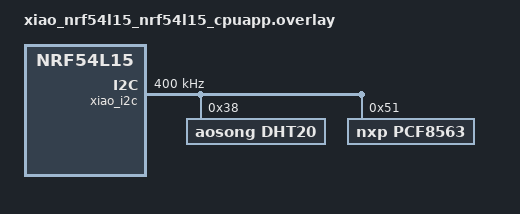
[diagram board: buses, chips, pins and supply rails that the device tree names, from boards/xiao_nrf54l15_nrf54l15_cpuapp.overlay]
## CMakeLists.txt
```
cmake_minimum_required(VERSION 3.20.0)
find_package(Zephyr REQUIRED HINTS $ENV{ZEPHYR_BASE})

project(THLogger)

target_sources(app PRIVATE
	src/main.c
	src/imu.c
	src/pcf8563.c
	src/dht20.c
	src/ble_service.c
)
```

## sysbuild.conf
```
# Disable the deprecated NCS Partition Manager.
# NVS partition layout is defined entirely in the DTS overlay
# (boards/xiao_nrf54l15_nrf54l15_cpuapp.overlay, &storage_partition).
SB_CONFIG_PARTITION_MANAGER=n
```

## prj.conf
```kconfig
CONFIG_LOG=y
CONFIG_LOG_DEFAULT_LEVEL=3
CONFIG_SERIAL=y
CONFIG_UART_CONSOLE=y

CONFIG_I2C=y
CONFIG_SENSOR=y
CONFIG_DHT20=y

# PCF8563 RTC on XIAO Expansion Board (battery-backed, survives power loss)
# RTC_PCF8563 is auto-enabled via DT_HAS_NXP_PCF8563_ENABLED when the DTS
# node is present; only the RTC subsystem needs to be explicitly selected.
CONFIG_RTC=y

# NVS persistent storage
CONFIG_NVS=y
CONFIG_FLASH=y
CONFIG_FLASH_MAP=y
CONFIG_FLASH_PAGE_LAYOUT=y

# Shell interface (show/clear log, set time)
CONFIG_SHELL=y
CONFIG_SHELL_BACKEND_SERIAL=y
CONFIG_SHELL_LOG_BACKEND=y
CONFIG_SHELL_STACK_SIZE=2048

# LED blink on sample / BLE connected indicator
CONFIG_GPIO=y

# ── BLE Nordic UART Service (NUS) ─────────────────────────────────────────
CONFIG_BT=y
CONFIG_BT_PERIPHERAL=y
CONFIG_BT_DEVICE_NAME="IcicleTHLogger"
CONFIG_BT_DEVICE_APPEARANCE=0

# Allow bt_set_name() to change the device name at runtime (required for NVS
# name persistence and the "thble name" shell command).  Without this,
# bt_set_name() returns -ENOMEM (-12) and BLE init fails entirely.
CONFIG_BT_DEVICE_NAME_DYNAMIC=y
CONFIG_BT_DEVICE_NAME_MAX=29

# Nordic UART Service (command/response over BLE)
CONFIG_BT_NUS=y

# Data Length Extension: up to 251-byte LL payload → 244-byte ATT payload
CONFIG_BT_CTLR_DATA_LENGTH_MAX=251
CONFIG_BT_L2CAP_TX_MTU=247
CONFIG_BT_BUF_ACL_RX_SIZE=255
CONFIG_BT_BUF_ACL_TX_SIZE=255

# BLE callbacks run on the system workqueue — needs more stack
CONFIG_SYSTEM_WORKQUEUE_STACK_SIZE=4096

# Suppress noisy BT debug traces
CONFIG_BT_HCI_CORE_LOG_LEVEL_WRN=y
CONFIG_BT_HCI_DRIVER_LOG_LEVEL_WRN=y
CONFIG_BT_LOG_LEVEL_WRN=y
```

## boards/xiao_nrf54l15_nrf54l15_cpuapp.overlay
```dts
/*
 * DHT20 temperature and humidity sensor + LSM6DSO IMU on the XIAO I2C bus.
 * DHT20 fixed address: 0x38
 * LSM6DSO fixed address: 0x6A  (accessed via raw I2C — no Zephyr sensor driver)
 * PCF8563 RTC on the XIAO Expansion Board: 0x51
 */

&xiao_i2c {
	clock-frequency = <400000>; /* 400 kHz fast mode */
	status = "okay";

	dht20: dht20@38 {
		compatible = "aosong,dht20";
		reg = <0x38>;
	};

	pcf8563: pcf8563@51 {
		compatible = "nxp,pcf8563";
		reg = <0x51>;
		status = "okay";
	};
};

/*
 * Replace the board-default partition table (MCUBoot + two OTA slots).
 * This project does not use MCUBoot or OTA, so the two 664 KB OTA slots
 * and the 64 KB MCUBoot slot are freed.
 *
 * cpuapp_rram total: 1428 KB  (0x000000 – 0x165000)
 *   0x000000 – 0x0E5000  slot0  (app code)   916 KB
 *   0x0E5000 – 0x165000  storage (NVS)        512 KB  (128 × 4 KB pages)
 *
 * slot0_partition is kept so the existing chosen { zephyr,code-partition }
 * reference continues to resolve; it now starts at 0x0 (no MCUBoot jump).
 */
&cpuapp_rram {
	/delete-node/ partitions;

	partitions {
		compatible = "fixed-partitions";
		#address-cells = <1>;
		#size-cells = <1>;

		slot0_partition: partition@0 {
			label = "image-0";
			reg = <0x0 DT_SIZE_K(916)>;
		};

		storage_partition: partition@e5000 {
			label = "storage";
			reg = <0xe5000 DT_SIZE_K(512)>;
		};
	};
};
```

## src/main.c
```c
/*
 * THLogger — Temperature & Humidity Logger with persistent NVS storage.
 *
 * Serial shell commands (115200 baud on USB/UART):
 *   thlog show          — print all stored log entries
 *   thlog clear         — erase the log
 *   thlog measure       — trigger an immediate measurement
 *   thtime set <YYYY-MM-DD> <HH:MM:SS>  — set the UTC time reference
 *   thtime get          — print the current derived time
 *   thble name          — print current BLE device name
 *   thble name <name>   — set BLE device name (persisted in NVS, max 29 chars)
 *
 * Storage layout (storage_partition, 512 KB at 0x0E5000 — see DTS overlay):
 *   NVS key  1 : write_idx   (uint32_t) — monotonic entry counter
 *   NVS key  2 : base_time_s (int64_t)  — unix seconds set by user
 *   NVS key  3 : BLE device name string (max 29 chars)
 *   NVS key 10…(10+MAX-1) : th_log_entry structs in a circular ring
 */

#include <zephyr/kernel.h>
#include <zephyr/logging/log.h>
#include <zephyr/device.h>
#include <zephyr/drivers/gpio.h>
#include <zephyr/fs/nvs.h>
#include <zephyr/drivers/flash.h>
#include <zephyr/storage/flash_map.h>
#include <zephyr/devicetree.h>
#include <zephyr/shell/shell.h>
#include <zephyr/sys/timeutil.h>
#include <time.h>
#include <stdio.h>
#include <string.h>
#include "imu.h"
#include "pcf8563.h"
#include "dht20.h"
#include "thlog_data.h"
#include "ble_service.h"

LOG_MODULE_REGISTER(main, CONFIG_LOG_DEFAULT_LEVEL);

/* Built-in LED (led0 alias, active-low on XIAO nRF54L15) */
#define LED0_NODE DT_ALIAS(led0)
static const struct gpio_dt_spec led = GPIO_DT_SPEC_GET(LED0_NODE, gpios);

/*
 * NVS partition: 512 KB (128 × 4 KB RRAM pages), defined in the DTS overlay.
 * Usable space: 127 sectors × 4096 B = 520,192 B.
 * Per entry: 32 B data + 8 B NVS ATE = 40 B  →  max ≈ 13,000 entries.
 * 10,000 entries × 40 B = 400,000 B — well within budget.
 * At one entry per 5 minutes: ~34.7 days of continuous logging.
 *
 * Key layout, struct, and externs are in thlog_data.h.
 */

struct nvs_fs nvs;
bool nvs_ready;

/* ------------------------------------------------------------------ */
/* Software clock                                                       */
/*   base_time_s   : unix seconds at the moment set by the user       */
/*   base_uptime_ms: k_uptime_get() value when base_time_s was set    */
/* Both survive reboots via NVS key 2.  After a cold boot the stored  */
/* base is reused so new entries carry sensible timestamps straight    */
/* away; the user can refine at any time with "thtime set".           */
/* ------------------------------------------------------------------ */
static int64_t base_time_s;
static int64_t base_uptime_ms;

int64_t get_timestamp_s(void)
{
	return base_time_s + (k_uptime_get() - base_uptime_ms) / 1000;
}

/* ------------------------------------------------------------------ */
/* Monotonic write counter (persisted in NVS)                          */
/* ------------------------------------------------------------------ */
uint32_t write_idx;

/* Set true once IMU init succeeds in main(); used by the measure command */
static bool imu_available;

/* ------------------------------------------------------------------ */
/* Helpers                                                             */
/* ------------------------------------------------------------------ */

/*
 * Format a unix timestamp as "YYYY-MM-DD HH:MM:SS".
 * Self-contained Gregorian algorithm — no gmtime() dependency.
 */
void format_timestamp(int64_t ts, char *buf, size_t len)
{
	static const uint8_t mdays[12] = {31, 28, 31, 30, 31, 30,
					  31, 31, 30, 31, 30, 31};

	if (ts <= 0) {
		snprintf(buf, len, "(time not set)");
		return;
	}

	int64_t days = ts / 86400;
	int64_t rem  = ts % 86400;
	int hh = (int)(rem / 3600);
	int mm = (int)((rem % 3600) / 60);
	int ss = (int)(rem % 60);

	int year = 1970;

	while (1) {
		bool leap = ((year % 4 == 0) && (year % 100 != 0)) ||
			    (year % 400 == 0);
		int diy = leap ? 366 : 365;

		if (days < diy) {
			break;
		}
		days -= diy;
		year++;
	}

	year = (year > 9999) ? 9999 : year;

	bool leap = ((year % 4 == 0) && (year % 100 != 0)) ||
		    (year % 400 == 0);
	int month = 1;

	for (int m = 0; m < 12; m++) {
		int md = mdays[m] + (m == 1 && leap ? 1 : 0);

		if (days < md) {
			month = m + 1;
			break;
		}
		days -= md;
	}

	int day = (int)days + 1;

	snprintf(buf, len, "%04d-%02d-%02d %02d:%02d:%02d",
		 year, month, day, hh, mm, ss);
}

/* Parse "YYYY-MM-DD". Returns 0 on success. */
static int parse_date_str(const char *s, int *year, int *month, int *day)
{
	if (strlen(s) != 10 || s[4] != '-' || s[7] != '-') {
		return -EINVAL;
	}
	for (int i = 0; i < 10; i++) {
		if (i == 4 || i == 7) {
			continue;
		}
		if (s[i] < '0' || s[i] > '9') {
			return -EINVAL;
		}
	}
	*year  = (s[0]-'0')*1000 + (s[1]-'0')*100 + (s[2]-'0')*10 + (s[3]-'0');
	*month = (s[5]-'0')*10 + (s[6]-'0');
	*day   = (s[8]-'0')*10 + (s[9]-'0');
	return 0;
}

/* Parse "HH:MM:SS". Returns 0 on success. */
static int parse_time_str(const char *s, int *hh, int *mm, int *ss)
{
	if (strlen(s) != 8 || s[2] != ':' || s[5] != ':') {
		return -EINVAL;
	}
	for (int i = 0; i < 8; i++) {
		if (i == 2 || i == 5) {
			continue;
		}
		if (s[i] < '0' || s[i] > '9') {
			return -EINVAL;
		}
	}
	*hh = (s[0]-'0')*10 + (s[1]-'0');
	*mm = (s[3]-'0')*10 + (s[4]-'0');
	*ss = (s[6]-'0')*10 + (s[7]-'0');
	return 0;
}

/* ------------------------------------------------------------------ */
/* NVS helpers                                                          */
/* ------------------------------------------------------------------ */

static int nvs_init_storage(void)
{
	/*
	 * storage_partition is defined (and its 512 KB size locked) in the
	 * DTS overlay.  FIXED_PARTITION_* macros read directly from the DTS
	 * so no hardcoded addresses are needed here.
	 */
	struct flash_pages_info page_info;
	int rc;

	nvs.flash_device = FIXED_PARTITION_DEVICE(storage_partition);
	if (!device_is_ready(nvs.flash_device)) {
		LOG_ERR("NVS flash device not ready");
		return -ENODEV;
	}

	nvs.offset = FIXED_PARTITION_OFFSET(storage_partition);

	rc = flash_get_page_info_by_offs(nvs.flash_device, nvs.offset,
					 &page_info);
	if (rc < 0) {
		LOG_ERR("Failed to get flash page info: %d", rc);
		return rc;
	}

	nvs.sector_size  = (uint16_t)page_info.size;
	nvs.sector_count = (uint16_t)(FIXED_PARTITION_SIZE(storage_partition)
				  / page_info.size);

	rc = nvs_mount(&nvs);
	if (rc < 0) {
		LOG_ERR("NVS mount failed: %d", rc);
		return rc;
	}

	LOG_INF("NVS mounted: offset=0x%lx sector_size=%u sectors=%u",
		(unsigned long)nvs.offset, nvs.sector_size, nvs.sector_count);
	return 0;
}

static int log_store_entry(const struct th_log_entry *entry)
{
	if (!nvs_ready) {
		return -ENODEV;
	}

	uint16_t slot = (uint16_t)(write_idx % MAX_LOG_ENTRIES);
	int rc;

	rc = nvs_write(&nvs, NVS_KEY_ENTRY_BASE + slot,
		       entry, sizeof(*entry));
	if (rc < 0) {
		LOG_ERR("NVS write entry failed: %d", rc);
		return rc;
	}

	write_idx++;
	rc = nvs_write(&nvs, NVS_KEY_WRITE_IDX, &write_idx, sizeof(write_idx));
	if (rc < 0) {
		LOG_ERR("NVS write_idx update failed: %d", rc);
	}
	return rc;
}

/* ------------------------------------------------------------------ */
/* Shell: thlog show / thlog clear                                     */
/* ------------------------------------------------------------------ */

static int cmd_thlog_show(const struct shell *sh, size_t argc, char **argv)
{
	ARG_UNUSED(argc);
	ARG_UNUSED(argv);

	if (!nvs_ready) {
		shell_error(sh, "NVS not available.");
		return -ENODEV;
	}

	uint32_t count = (write_idx < MAX_LOG_ENTRIES) ? write_idx
						       : MAX_LOG_ENTRIES;

	if (count == 0) {
		shell_print(sh, "Log is empty.");
		return 0;
	}

	/*
	 * When the ring buffer is full, write_idx % MAX points at the
	 * oldest slot (the next one to be overwritten).
	 */
	uint32_t oldest_slot = (write_idx >= MAX_LOG_ENTRIES)
				? (write_idx % MAX_LOG_ENTRIES) : 0u;

	shell_print(sh, "%-21s  %-10s  %-14s  %-12s  %s",
		    "Timestamp (UTC)", "Temp (C)", "Humidity (%)",
		    "VibRMS (mg)", "VibPeak (mg)");
	shell_print(sh,
		    "------------------------------------------------------------------------");

	for (uint32_t i = 0; i < count; i++) {
		uint16_t slot = (uint16_t)((oldest_slot + i) % MAX_LOG_ENTRIES);
		struct th_log_entry e;
		char timebuf[32];
		int rc;

		rc = nvs_read(&nvs, NVS_KEY_ENTRY_BASE + slot,
			      &e, sizeof(e));
		if (rc < 0) {
			shell_print(sh, "[slot %u] read error: %d", slot, rc);
			continue;
		}

		format_timestamp(e.timestamp_s, timebuf, sizeof(timebuf));
		shell_print(sh, "%-21s  %4d.%02d       %3d.%02d         %6d        %6d",
			    timebuf,
			    e.temp_val1, e.temp_val2 / 10000,
			    e.hum_val1,  e.hum_val2  / 10000,
			    e.vibration_rms_mg, e.vibration_peak_mg);
	}

	shell_print(sh,
		    "------------------------------------------------------------------------");
	shell_print(sh, "%u entr%s (max %u).",
		    count, count == 1u ? "y" : "ies", MAX_LOG_ENTRIES);
	return 0;
}

static int cmd_thlog_measure(const struct shell *sh, size_t argc, char **argv)
{
	ARG_UNUSED(argc);
	ARG_UNUSED(argv);

	if (!nvs_ready) {
		shell_error(sh, "NVS not available.");
		return -ENODEV;
	}

	int32_t vib_rms_mg = 0, vib_peak_mg = 0;

	if (imu_available) {
		if (imu_sample_vibration(&vib_rms_mg, &vib_peak_mg) != 0) {
			shell_warn(sh, "IMU: vibration sampling failed");
		}
	}

	struct sensor_value temp, humidity;

	if (dht20_measure(&temp, &humidity) != 0) {
		shell_error(sh, "DHT20 measurement failed.");
		return -EIO;
	}

	struct th_log_entry entry = {
		.timestamp_s       = get_timestamp_s(),
		.temp_val1         = temp.val1,
		.temp_val2         = temp.val2,
		.hum_val1          = humidity.val1,
		.hum_val2          = humidity.val2,
		.vibration_rms_mg  = vib_rms_mg,
		.vibration_peak_mg = vib_peak_mg,
	};

	int rc = log_store_entry(&entry);

	if (rc < 0) {
		shell_error(sh, "Failed to store entry: %d", rc);
		return rc;
	}

	char timebuf[32];

	format_timestamp(entry.timestamp_s, timebuf, sizeof(timebuf));
	shell_print(sh, "Measured: %s  %d.%02d C  %d.%02d %%  vib RMS=%d mg  peak=%d mg",
		    timebuf,
		    entry.temp_val1, entry.temp_val2 / 10000,
		    entry.hum_val1,  entry.hum_val2  / 10000,
		    vib_rms_mg, vib_peak_mg);
	return 0;
}

static int cmd_thlog_clear(const struct shell *sh, size_t argc, char **argv)
{
	ARG_UNUSED(argc);
	ARG_UNUSED(argv);

	if (!nvs_ready) {
		shell_error(sh, "NVS not available.");
		return -ENODEV;
	}

	write_idx = 0;
	int rc = nvs_write(&nvs, NVS_KEY_WRITE_IDX,
			   &write_idx, sizeof(write_idx));
	if (rc < 0) {
		shell_error(sh, "Failed to clear log: %d", rc);
		return rc;
	}
	shell_print(sh, "Log cleared.");
	return 0;
}

/* ------------------------------------------------------------------ */
/* Shell: thtime set / thtime get                                       */
/* ------------------------------------------------------------------ */

static int cmd_thtime_set(const struct shell *sh, size_t argc, char **argv)
{
	/* argv: [0]="set"  [1]="YYYY-MM-DD"  [2]="HH:MM:SS" */
	if (argc < 3) {
		shell_error(sh, "Usage: thtime set <YYYY-MM-DD> <HH:MM:SS>");
		return -EINVAL;
	}

	int year, month, day, hh, mm, ss;

	if (parse_date_str(argv[1], &year, &month, &day) != 0) {
		shell_error(sh, "Bad date — expected YYYY-MM-DD");
		return -EINVAL;
	}
	if (parse_time_str(argv[2], &hh, &mm, &ss) != 0) {
		shell_error(sh, "Bad time — expected HH:MM:SS");
		return -EINVAL;
	}
	if (month < 1 || month > 12 || day < 1 || day > 31 ||
	    hh > 23 || mm > 59 || ss > 59) {
		shell_error(sh, "Value out of range");
		return -EINVAL;
	}

	struct tm t = {
		.tm_year = year - 1900,
		.tm_mon  = month - 1,
		.tm_mday = day,
		.tm_hour = hh,
		.tm_min  = mm,
		.tm_sec  = ss,
	};

	base_time_s    = timeutil_timegm64(&t);
	base_uptime_ms = k_uptime_get();

	/* Persist so timestamps survive a reboot (RTC is authoritative on boot) */
	if (nvs_ready) {
		nvs_write(&nvs, NVS_KEY_BASE_TIME, &base_time_s, sizeof(base_time_s));
	}

	/* Write to the PCF8563 — it will keep ticking on battery power */
	if (pcf8563_write_unix(base_time_s) == 0) {
		shell_print(sh, "PCF8563 RTC updated.");
	}

	char buf[32];

	format_timestamp(base_time_s, buf, sizeof(buf));
	shell_print(sh, "Time set to: %s UTC", buf);
	return 0;
}

static int cmd_thtime_get(const struct shell *sh, size_t argc, char **argv)
{
	ARG_UNUSED(argc);
	ARG_UNUSED(argv);

	char buf[32];

	format_timestamp(get_timestamp_s(), buf, sizeof(buf));
	shell_print(sh, "Current time: %s UTC", buf);
	return 0;
}

/* ------------------------------------------------------------------ */
/* Shell registration                                                   */
/* ------------------------------------------------------------------ */

SHELL_STATIC_SUBCMD_SET_CREATE(sub_thlog,
	SHELL_CMD(show,    NULL, "Print all log entries",       cmd_thlog_show),
	SHELL_CMD(clear,   NULL, "Erase the log",               cmd_thlog_clear),
	SHELL_CMD(measure, NULL, "Trigger an immediate sample", cmd_thlog_measure),
	SHELL_SUBCMD_SET_END
);

SHELL_STATIC_SUBCMD_SET_CREATE(sub_thtime,
	SHELL_CMD_ARG(set, NULL,
		      "Set UTC time: <YYYY-MM-DD> <HH:MM:SS>",
		      cmd_thtime_set, 3, 0),
	SHELL_CMD(get, NULL, "Print current time", cmd_thtime_get),
	SHELL_SUBCMD_SET_END
);

SHELL_CMD_REGISTER(thlog,  &sub_thlog,  "THLogger log commands",  NULL);
SHELL_CMD_REGISTER(thtime, &sub_thtime, "THLogger time commands", NULL);

/* ------------------------------------------------------------------ */
/* Shell: thble name                                                    */
/* ------------------------------------------------------------------ */

static int cmd_thble_name(const struct shell *sh, size_t argc, char **argv)
{
	if (argc < 2) {
		shell_print(sh, "BLE name: %s", ble_service_get_name());
		return 0;
	}

	int rc = ble_service_set_name(argv[1]);

	if (rc == 0) {
		shell_print(sh, "BLE name set to: %s", ble_service_get_name());
	} else {
		shell_error(sh, "Failed to set BLE name: %d", rc);
	}
	return rc;
}

SHELL_STATIC_SUBCMD_SET_CREATE(sub_thble,
	SHELL_CMD_ARG(name, NULL,
		      "Get/set BLE device name: thble name [<newname>]",
		      cmd_thble_name, 1, 1),
	SHELL_SUBCMD_SET_END
);

SHELL_CMD_REGISTER(thble, &sub_thble, "THLogger BLE commands", NULL);

/* ------------------------------------------------------------------ */
/* main                                                                 */
/* ------------------------------------------------------------------ */

int main(void)
{
	LOG_INF("THLogger starting");

	/*
	 * DHT20 requires >=100 ms after VDD power-on before I2C is ready.
	 * The driver SYS_INIT runs before main(), so guard here.
	 */
	k_sleep(K_MSEC(200));

	/* --- NVS ----------------------------------------------------- */
	if ((nvs_ready = (nvs_init_storage() == 0))) {
		/* Restore the monotonic write counter */
		if (nvs_read(&nvs, NVS_KEY_WRITE_IDX,
			     &write_idx, sizeof(write_idx)) < 0) {
			write_idx = 0;
		}

		/* Restore the last known real-world time reference */
		int64_t stored_time = 0;

		if (nvs_read(&nvs, NVS_KEY_BASE_TIME,
			     &stored_time, sizeof(stored_time)) > 0 &&
		    stored_time > 0) {
			base_time_s    = stored_time;
			base_uptime_ms = k_uptime_get();
			LOG_INF("Restored time base from NVS");
		}

		uint32_t count = (write_idx < MAX_LOG_ENTRIES)
				 ? write_idx : MAX_LOG_ENTRIES;

		LOG_INF("Log: %u entr%s stored (max %u)",
			count, count == 1u ? "y" : "ies", MAX_LOG_ENTRIES);
	} else {
		LOG_WRN("NVS unavailable — logging disabled");
	}

	/* --- PCF8563 RTC ------------------------------------------- */
	if (pcf8563_init() == 0) {
		int64_t rtc_ts = pcf8563_read_unix();

		if (rtc_ts > 0) {
			base_time_s    = rtc_ts;
			base_uptime_ms = k_uptime_get();
			if (nvs_ready) {
				nvs_write(&nvs, NVS_KEY_BASE_TIME,
					  &base_time_s, sizeof(base_time_s));
			}
			LOG_INF("Time loaded from PCF8563 RTC");
		} else {
			LOG_WRN("PCF8563: oscillator not set — "
				"use \"thtime set\" to initialise");
		}
	} else {
		LOG_WRN("PCF8563 RTC not available — check I2C wiring");
	}

	/* --- DHT20 --------------------------------------------------- */
	if (dht20_init() != 0) {
		/* Stay alive so MCUboot does not mark the image failed */
		while (1) {
			k_sleep(K_SECONDS(5));
		}
	}

	/* --- LED ----------------------------------------------------- */
	if (gpio_is_ready_dt(&led)) {
		gpio_pin_configure_dt(&led, GPIO_OUTPUT_INACTIVE);
	} else {
		LOG_WRN("LED GPIO not ready");
	}

	/* --- IMU (LSM6DSO) ------------------------------------------- */
	imu_available = (imu_init() == 0);

	if (!imu_available) {
		LOG_WRN("IMU: init failed — vibration logging disabled");
	}

	/* --- BLE ----------------------------------------------------- */
	if (ble_service_init() != 0) {
		LOG_WRN("BLE: init failed — BLE disabled");
	}

	/* 500 ms blink to signal a successful start */
	gpio_pin_set_dt(&led, 0);
	k_sleep(K_MSEC(500));
	gpio_pin_set_dt(&led, 1);

	/* --- Sampling loop ------------------------------------------- */
	while (1) {
		/*
		 * 1. IMU vibration sampling (~10 seconds).
		 *    Runs first so the accelerometer window aligns with the
		 *    start of every measurement cycle, giving a consistent
		 *    time reference for motor-state analysis.
		 */
		int32_t vib_rms_mg = 0, vib_peak_mg = 0;

		if (imu_available) {
			if (imu_sample_vibration(&vib_rms_mg, &vib_peak_mg) != 0) {
				LOG_WRN("IMU: vibration sampling failed");
			} else {
				LOG_INF("IMU: vib RMS=%d mg  peak=%d mg",
					vib_rms_mg, vib_peak_mg);
			}
		}

		/* 2. DHT20 temperature & humidity */
		struct sensor_value temp, humidity;

		if (dht20_measure(&temp, &humidity) == 0) {
			struct th_log_entry entry = {
				.timestamp_s       = get_timestamp_s(),
				.temp_val1         = temp.val1,
				.temp_val2         = temp.val2,
				.hum_val1          = humidity.val1,
				.hum_val2          = humidity.val2,
				.vibration_rms_mg  = vib_rms_mg,
				.vibration_peak_mg = vib_peak_mg,
			};

			log_store_entry(&entry);

			/* 500 ms blink to signal a successful sample */
			gpio_pin_set_dt(&led, 0);
			k_sleep(K_MSEC(500));
			gpio_pin_set_dt(&led, 1);
		}

		/*
		 * 3. Sleep for the remainder of the 5-minute cycle.
		 *    The IMU window already consumed ~10 seconds, so subtract
		 *    that when the IMU is active to keep a consistent period.
		 */
		int sleep_s = (5 * 60) - (imu_available ? (IMU_SAMPLE_DURATION_MS / 1000) : 0);

		if (sleep_s > 0) {
			k_sleep(K_SECONDS(sleep_s));
		}
	}

	return 0;
}
```

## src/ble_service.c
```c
/*
 * ble_service.c — BLE NUS command/response service for THLogger.
 *
 * Modeled on the ThermalCam project's ble_stream.c.
 * Accepts text commands over NUS RX and streams log data back over NUS TX.
 *
 * SPDX-License-Identifier: Apache-2.0
 */

#include <zephyr/kernel.h>
#include <zephyr/drivers/gpio.h>
#include <zephyr/bluetooth/bluetooth.h>
#include <zephyr/bluetooth/conn.h>
#include <bluetooth/services/nus.h>
#include <zephyr/logging/log.h>

#include <stdio.h>
#include <string.h>
#include <stdlib.h>

#include "ble_service.h"
#include "thlog_data.h"

LOG_MODULE_REGISTER(ble_service, LOG_LEVEL_INF);

/* ---- BLE device name --------------------------------------------------- */
#define BLE_NAME_MAX_LEN  29   /* BLE scan-response payload limit */
static char s_ble_name[BLE_NAME_MAX_LEN + 1]; /* current device name */

/* ---- LED0: BLE connected indicator ---- */
static const struct gpio_dt_spec s_led0 =
	GPIO_DT_SPEC_GET(DT_ALIAS(led0), gpios);

/* ---- Module-level state ---- */
static struct bt_conn *s_conn;          /* NULL when not connected       */
static bool           s_notify_enabled; /* true once peer writes CCCD=1  */
static K_SEM_DEFINE(s_bt_ready, 0, 1);

/* Work item for advertising restart (must run outside BT RX thread) */
static void adv_restart_work_handler(struct k_work *work);
static K_WORK_DEFINE(s_adv_restart_work, adv_restart_work_handler);

/*
 * Command thread: processes NUS RX commands on a dedicated stack so the
 * system workqueue is not blocked during long NVS reads or BLE TX loops.
 * The BLE stack's own work items can then drain the TX buffer freely.
 */
#define CMD_BUF_SIZE        64
#define CMD_THREAD_STACK    4096
#define CMD_THREAD_PRIORITY 7

static char     s_cmd_buf[CMD_BUF_SIZE];
static uint16_t s_cmd_len;

static K_THREAD_STACK_DEFINE(s_cmd_stack, CMD_THREAD_STACK);
static struct k_thread s_cmd_thread_data;
static K_SEM_DEFINE(s_cmd_sem, 0, 1);

static void cmd_thread_fn(void *p1, void *p2, void *p3);

/* ---- Binary show-protocol framing bytes -------------------------------- */
static const uint8_t SHOW_SOF[] = {0xAAu, 0x55u, 0xDDu, 0x22u};
static const uint8_t SHOW_EOF[] = {0x22u, 0xDDu, 0x55u, 0xAAu};

/* ---- Advertising / scan-response data ---------------------------------- */

static const struct bt_data s_adv[] = {
	BT_DATA_BYTES(BT_DATA_FLAGS, (BT_LE_AD_GENERAL | BT_LE_AD_NO_BREDR)),
	BT_DATA_BYTES(BT_DATA_UUID128_ALL, BT_UUID_NUS_VAL),
};

/* Scan response is built dynamically so it uses the NVS-loaded name */
static struct bt_data s_sd[1];

static void build_scan_response(void)
{
	s_sd[0].type = BT_DATA_NAME_COMPLETE;
	s_sd[0].data = (const uint8_t *)s_ble_name;
	s_sd[0].data_len = (uint8_t)strlen(s_ble_name);
}

/* ---- Send raw bytes over NUS TX in MTU-sized chunks -------------------- */

static int nus_send_raw(const uint8_t *data, size_t len)
{
	if (!s_conn || !s_notify_enabled) {
		return -ENOTCONN;
	}

	uint32_t mtu = bt_nus_get_mtu(s_conn);

	if (mtu == 0) {
		mtu = 20;
	}

	for (size_t offset = 0; offset < len;) {
		size_t chunk = MIN(mtu, (uint32_t)(len - offset));
		int ret = bt_nus_send(s_conn,
				      data + offset,
				      (uint16_t)chunk);
		if (ret == -EAGAIN || ret == -ENOMEM) {
			/* BLE TX buffer full — yield briefly and retry */
			k_sleep(K_MSEC(5));
			continue;
		}
		if (ret) {
			LOG_ERR("bt_nus_send failed at offset %zu (err %d)",
				offset, ret);
			return ret;
		}
		offset += chunk;
	}
	return 0;
}

static int nus_send_str(const char *str, size_t len)
{
	return nus_send_raw((const uint8_t *)str, len);
}

/* ---- Command handlers -------------------------------------------------- */

static void handle_show_cmd(void)
{
	if (!nvs_ready) {
		static const char err[] = "ERR:nvs\nEND\n";
		nus_send_str(err, sizeof(err) - 1);
		return;
	}

	uint32_t count = (write_idx < MAX_LOG_ENTRIES) ? write_idx
						       : MAX_LOG_ENTRIES;
	uint32_t oldest_slot = (write_idx >= MAX_LOG_ENTRIES)
				? (write_idx % MAX_LOG_ENTRIES) : 0u;

	/*
	 * Binary frame: SOF(4) + count(4) + N×entry(32) + EOF(4)
	 * Running on the dedicated command thread so the system workqueue
	 * remains free for the BLE stack to drain its TX buffer.
	 */
	nus_send_raw(SHOW_SOF, sizeof(SHOW_SOF));
	nus_send_raw((const uint8_t *)&count, sizeof(count));

	for (uint32_t i = 0; i < count; i++) {
		if (!s_conn || !s_notify_enabled) {
			LOG_WRN("BLE disconnected during show — aborting");
			return;
		}

		uint16_t slot = (uint16_t)((oldest_slot + i) % MAX_LOG_ENTRIES);
		struct th_log_entry e;

		if (nvs_read(&nvs, NVS_KEY_ENTRY_BASE + slot,
			     &e, sizeof(e)) < 0) {
			memset(&e, 0, sizeof(e));
		}

		nus_send_raw((const uint8_t *)&e, sizeof(e));

		/* Yield every 8 entries so the BLE stack can drain its TX buffer */
		if ((i % 8) == 7) {
			k_sleep(K_MSEC(10));
		}
	}

	nus_send_raw(SHOW_EOF, sizeof(SHOW_EOF));
	LOG_INF("BLE: sent %u entries (binary, %u bytes)",
		count,
		(unsigned)(sizeof(SHOW_SOF) + 4u +
			   count * sizeof(struct th_log_entry) +
			   sizeof(SHOW_EOF)));
}

static void handle_status_cmd(void)
{
	char buf[128];
	uint32_t count = (write_idx < MAX_LOG_ENTRIES) ? write_idx
						       : MAX_LOG_ENTRIES;
	int n = snprintf(buf, sizeof(buf),
			 "Name: %s\nEntries: %u / %u\nUptime: %lld s\nEND\n",
			 s_ble_name, count, MAX_LOG_ENTRIES,
			 k_uptime_get() / 1000);
	if (n > 0) {
		nus_send_str(buf, (size_t)n);
	}
}

static void handle_name_cmd(const char *new_name)
{
	if (strlen(new_name) == 0 || strlen(new_name) > BLE_NAME_MAX_LEN) {
		char err[] = "ERROR: name must be 1-29 characters\nEND\n";
		nus_send_str(err, strlen(err));
		return;
	}

	int rc = ble_service_set_name(new_name);
	char buf[64];
	int n;

	if (rc == 0) {
		n = snprintf(buf, sizeof(buf),
			     "Name set to: %s (re-advertise on reconnect)\nEND\n",
			     s_ble_name);
	} else {
		n = snprintf(buf, sizeof(buf),
			     "ERROR: failed to save name (%d)\nEND\n", rc);
	}
	if (n > 0) {
		nus_send_str(buf, (size_t)n);
	}
}

/* ---- Command thread (dedicated stack, not the system workqueue) --------- */

static void cmd_thread_fn(void *p1, void *p2, void *p3)
{
	ARG_UNUSED(p1);
	ARG_UNUSED(p2);
	ARG_UNUSED(p3);

	while (1) {
		k_sem_take(&s_cmd_sem, K_FOREVER);

		/* Null-terminate and trim trailing whitespace */
		s_cmd_buf[s_cmd_len] = '\0';
		char *cmd = s_cmd_buf;

		/* Trim leading/trailing whitespace */
		while (*cmd == ' ' || *cmd == '\t' || *cmd == '\r' || *cmd == '\n') {
			cmd++;
		}
		size_t len = strlen(cmd);

		while (len > 0 && (cmd[len - 1] == ' ' || cmd[len - 1] == '\t' ||
				   cmd[len - 1] == '\r' || cmd[len - 1] == '\n')) {
			cmd[--len] = '\0';
		}

		LOG_INF("BLE RX command: \"%s\"", cmd);

		if (strcmp(cmd, "show") == 0) {
			handle_show_cmd();
		} else if (strcmp(cmd, "status") == 0) {
			handle_status_cmd();
		} else if (strncmp(cmd, "name:", 5) == 0) {
			handle_name_cmd(cmd + 5);
		} else {
			char buf[64];
			int n = snprintf(buf, sizeof(buf),
					 "ERROR: unknown command \"%s\"\nEND\n", cmd);
			if (n > 0) {
				nus_send_str(buf, (size_t)n);
			}
		}
	}
}

/* ---- BT controller ready callback -------------------------------------- */

static void bt_ready_cb(int err)
{
	if (err) {
		LOG_ERR("bt_enable failed (err %d)", err);
		return;
	}
	k_sem_give(&s_bt_ready);
}

/* ---- Advertising restart (system workqueue) ----------------------------- */

static void adv_restart_work_handler(struct k_work *work)
{
	ARG_UNUSED(work);

	build_scan_response();
	int ret = bt_le_adv_start(BT_LE_ADV_CONN_FAST_1,
				  s_adv, ARRAY_SIZE(s_adv),
				  s_sd,  ARRAY_SIZE(s_sd));
	if (ret) {
		LOG_ERR("Advertising restart failed (err %d)", ret);
	} else {
		LOG_INF("Re-advertising as \"%s\"", s_ble_name);
	}
}

/* ---- Connection callbacks ---------------------------------------------- */

static void connected_cb(struct bt_conn *conn, uint8_t err)
{
	if (err) {
		LOG_ERR("Connection failed (err 0x%02x)", err);
		return;
	}
	s_conn = bt_conn_ref(conn);
	gpio_pin_set_dt(&s_led0, 1);
	LOG_INF("BLE peer connected");
}

static void disconnected_cb(struct bt_conn *conn, uint8_t reason)
{
	LOG_INF("BLE peer disconnected (reason 0x%02x)", reason);

	gpio_pin_set_dt(&s_led0, 0);
	s_notify_enabled = false;

	if (s_conn) {
		bt_conn_unref(s_conn);
		s_conn = NULL;
	}

	k_work_submit(&s_adv_restart_work);
}

BT_CONN_CB_DEFINE(conn_callbacks) = {
	.connected    = connected_cb,
	.disconnected = disconnected_cb,
};

/* ---- NUS callbacks ----------------------------------------------------- */

static void nus_send_enabled_cb(enum bt_nus_send_status status)
{
	s_notify_enabled = (status == BT_NUS_SEND_STATUS_ENABLED);
	LOG_INF("NUS notifications %s",
		s_notify_enabled ? "enabled" : "disabled");
}

static void nus_received_cb(struct bt_conn *conn,
			     const uint8_t *data, uint16_t len)
{
	ARG_UNUSED(conn);

	if (len == 0 || len >= CMD_BUF_SIZE) {
		return;
	}

	/* Copy to command buffer and defer processing to the workqueue
	 * so we don't block the BT RX thread during long operations. */
	memcpy(s_cmd_buf, data, len);
	s_cmd_len = len;
	k_sem_give(&s_cmd_sem);  /* wake the command thread */
}

/* ---- Public API -------------------------------------------------------- */

int ble_service_init(void)
{
	/* Load device name from NVS, fall back to compile-time default */
	strncpy(s_ble_name, CONFIG_BT_DEVICE_NAME, BLE_NAME_MAX_LEN);
	s_ble_name[BLE_NAME_MAX_LEN] = '\0';

	if (nvs_ready) {
		char stored[BLE_NAME_MAX_LEN + 1];
		int rc = nvs_read(&nvs, NVS_KEY_BLE_NAME,
				  stored, sizeof(stored) - 1);
		if (rc > 0) {
			stored[rc] = '\0';
			strncpy(s_ble_name, stored, BLE_NAME_MAX_LEN);
			s_ble_name[BLE_NAME_MAX_LEN] = '\0';
			LOG_INF("Loaded BLE name from NVS: \"%s\"", s_ble_name);
		}
	}

	/* Configure LED0 (BLE connected indicator), initially off */
	if (gpio_is_ready_dt(&s_led0)) {
		gpio_pin_configure_dt(&s_led0, GPIO_OUTPUT_INACTIVE);
	}

	/* Enable BT controller */
	int ret = bt_enable(bt_ready_cb);

	if (ret) {
		LOG_ERR("bt_enable failed (err %d)", ret);
		return ret;
	}
	k_sem_take(&s_bt_ready, K_FOREVER);
	LOG_INF("BT stack ready");

	/* Set the runtime device name (overrides CONFIG_BT_DEVICE_NAME) */
	ret = bt_set_name(s_ble_name);

	if (ret) {
		LOG_ERR("bt_set_name failed (err %d)", ret);
		return ret;
	}

	/* Register NUS callbacks (RX for commands, send_enabled for CCCD) */
	static struct bt_nus_cb nus_cb = {
		.received     = nus_received_cb,
		.send_enabled = nus_send_enabled_cb,
	};

	ret = bt_nus_init(&nus_cb);
	if (ret) {
		LOG_ERR("NUS init failed (err %d)", ret);
		return ret;
	}

	/* Launch the dedicated command thread */
	k_thread_create(&s_cmd_thread_data, s_cmd_stack,
			K_THREAD_STACK_SIZEOF(s_cmd_stack),
			cmd_thread_fn, NULL, NULL, NULL,
			CMD_THREAD_PRIORITY, 0, K_NO_WAIT);
	k_thread_name_set(&s_cmd_thread_data, "ble_cmd");

	/* Start advertising */
	build_scan_response();
	ret = bt_le_adv_start(BT_LE_ADV_CONN_FAST_1,
			      s_adv, ARRAY_SIZE(s_adv),
			      s_sd,  ARRAY_SIZE(s_sd));
	if (ret) {
		LOG_ERR("Advertising start failed (err %d)", ret);
		return ret;
	}

	LOG_INF("Advertising as \"%s\"", s_ble_name);
	return 0;
}

const char *ble_service_get_name(void)
{
	return s_ble_name;
}

int ble_service_set_name(const char *name)
{
	size_t len = strlen(name);

	if (len == 0 || len > BLE_NAME_MAX_LEN) {
		return -EINVAL;
	}

	strncpy(s_ble_name, name, BLE_NAME_MAX_LEN);
	s_ble_name[BLE_NAME_MAX_LEN] = '\0';

	/* Update the runtime BT name */
	int ret = bt_set_name(s_ble_name);

	if (ret) {
		LOG_ERR("bt_set_name failed (err %d)", ret);
		return ret;
	}

	/* Persist to NVS */
	if (nvs_ready) {
		int rc = nvs_write(&nvs, NVS_KEY_BLE_NAME,
				   s_ble_name, strlen(s_ble_name));
		if (rc < 0) {
			LOG_ERR("NVS write BLE name failed: %d", rc);
			return rc;
		}
	}

	LOG_INF("BLE name set to \"%s\"", s_ble_name);
	return 0;
}
```

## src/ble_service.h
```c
/*
 * ble_service.h — BLE Nordic UART Service (NUS) for THLogger.
 *
 * Call ble_service_init() once from main() after NVS is mounted.
 * The BLE service accepts text commands over NUS RX and streams
 * log data back via NUS TX notifications.
 *
 * Commands (sent by the Python client via NUS RX):
 *   "show"            — stream all log entries, terminated by "END\n"
 *   "status"          — respond with entry count and device name
 *   "name:<NewName>"  — persist a new BLE device name in NVS
 */

#ifndef BLE_SERVICE_H
#define BLE_SERVICE_H

/**
 * @brief Initialise BLE stack, register NUS, load device name from NVS,
 *        and begin advertising.
 *
 * Must be called after NVS is mounted (nvs_ready == true).
 * Blocks until the BT controller is ready.
 *
 * @return 0 on success, negative errno on failure.
 */
int ble_service_init(void);

/**
 * @brief Get the current BLE device name.
 *
 * @return Pointer to a null-terminated name string (static storage).
 */
const char *ble_service_get_name(void);

/**
 * @brief Set a new BLE device name and persist it in NVS.
 *
 * The new name takes effect for future advertising (after disconnect
 * or reboot).  Maximum 29 characters (BLE scan-response limit).
 *
 * @param name  New device name (null-terminated).
 * @return 0 on success, negative errno on failure.
 */
int ble_service_set_name(const char *name);

#endif /* BLE_SERVICE_H */
```

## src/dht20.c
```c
/*
 * dht20.c — DHT20 temperature & humidity sensor wrapper.
 *
 * Thin wrapper around the Zephyr aosong,dht20 sensor driver that caches
 * the device pointer and exposes a simple measure() function.
 */

#include "dht20.h"

#include <zephyr/device.h>
#include <zephyr/devicetree.h>
#include <zephyr/drivers/sensor.h>
#include <zephyr/logging/log.h>

LOG_MODULE_REGISTER(dht20, CONFIG_LOG_DEFAULT_LEVEL);

static const struct device *dht20_dev;

int dht20_init(void)
{
	dht20_dev = DEVICE_DT_GET_ANY(aosong_dht20);
	if (!device_is_ready(dht20_dev)) {
		LOG_ERR("DHT20 not ready — check wiring and power");
		return -ENODEV;
	}
	return 0;
}

int dht20_measure(struct sensor_value *temp, struct sensor_value *humidity)
{
	int rc = sensor_sample_fetch(dht20_dev);

	if (rc < 0) {
		LOG_ERR("Fetch failed: %d", rc);
		return rc;
	}

	sensor_channel_get(dht20_dev, SENSOR_CHAN_AMBIENT_TEMP, temp);
	sensor_channel_get(dht20_dev, SENSOR_CHAN_HUMIDITY, humidity);
	return 0;
}
```

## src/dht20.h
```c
/*
 * dht20.h — DHT20 temperature & humidity sensor public interface.
 */
#ifndef DHT20_H_
#define DHT20_H_

#include <zephyr/drivers/sensor.h>

/**
 * Initialise the DHT20 (Zephyr driver, I²C address 0x38).
 * Returns 0 on success, -ENODEV if the device is not ready.
 */
int dht20_init(void);

/**
 * Fetch a temperature and humidity sample from the DHT20.
 *
 * @param temp      Output: temperature in Zephyr sensor_value format.
 * @param humidity  Output: relative humidity in Zephyr sensor_value format.
 * @return 0 on success, negative errno on failure.
 */
int dht20_measure(struct sensor_value *temp, struct sensor_value *humidity);

#endif /* DHT20_H_ */
```

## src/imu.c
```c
/*
 * imu.c — LSM6DSO raw I2C driver for motor-vibration detection.
 *
 * Tuned for long-running motor vibration (30+ minutes): each 10 s capture
 * window should see continuous vibration when the motor is on.  Brief impulses
 * (knocks, electrical glitches) are rejected by using RMS-based metrics only.
 *
 * Sampling strategy:
 *   - Accelerometer ODR 416 Hz, +-2 g (61 ug / LSB — highest sensitivity)
 *   - On-chip high-pass filter (gravity removed in hardware)
 *   - One sample per data-ready flag (~10 seconds total)
 *   - Full-window combined RSS RMS  -> sustained average level (VibRMS)
 *   - Max 1 s sub-window combined RMS -> strongest sustained second (VibPeak)
 */

#include "imu.h"

#include <zephyr/kernel.h>
#include <zephyr/device.h>
#include <zephyr/devicetree.h>
#include <zephyr/drivers/i2c.h>
#include <zephyr/logging/log.h>

LOG_MODULE_REGISTER(imu, CONFIG_LOG_DEFAULT_LEVEL);

#define LSM6DSO_I2C_ADDR       0x6A

#define LSM6DSO_REG_WHO_AM_I   0x0F
#define LSM6DSO_WHO_AM_I_VAL   0x6A

#define LSM6DSO_REG_CTRL1_XL   0x10
#define LSM6DSO_REG_CTRL2_G    0x11
#define LSM6DSO_REG_CTRL3_C    0x12
#define LSM6DSO_REG_CTRL8_XL   0x17
#define LSM6DSO_REG_STATUS     0x1E
#define LSM6DSO_REG_OUTX_L_XL  0x28

#define LSM6DSO_STATUS_XLDA    0x01

#define LSM6DSO_CTRL1_416HZ_2G 0x60
#define LSM6DSO_CTRL8_HP       0x04
#define LSM6DSO_CTRL3_BDU      0x40

#define IMU_SENS_UG_PER_LSB    61
#define XLDA_TIMEOUT_MS        5

/* 1 s sub-windows at 416 Hz — spikes shorter than this are averaged down */
#define IMU_BLOCK_SAMPLES      IMU_ODR_HZ

struct vib_accum {
	int64_t sum_x;
	int64_t sum_y;
	int64_t sum_z;
	int64_t sum_sq_x;
	int64_t sum_sq_y;
	int64_t sum_sq_z;
	int     count;
};

static const struct device *imu_i2c_dev;
static bool imu_ready;

static int lsm6dso_reg_write(uint8_t reg, uint8_t val)
{
	uint8_t tx[2] = {reg, val};

	return i2c_write(imu_i2c_dev, tx, sizeof(tx), LSM6DSO_I2C_ADDR);
}

static int lsm6dso_reg_read(uint8_t reg, uint8_t *val)
{
	return i2c_reg_read_byte(imu_i2c_dev, LSM6DSO_I2C_ADDR, reg, val);
}

static int lsm6dso_burst_read(uint8_t reg, uint8_t *buf, uint8_t len)
{
	return i2c_burst_read(imu_i2c_dev, LSM6DSO_I2C_ADDR, reg, buf, len);
}

static int wait_xlda(void)
{
	int64_t deadline = k_uptime_get() + XLDA_TIMEOUT_MS;

	while (k_uptime_get() < deadline) {
		uint8_t status = 0;

		if (lsm6dso_reg_read(LSM6DSO_REG_STATUS, &status) == 0 &&
		    (status & LSM6DSO_STATUS_XLDA)) {
			return 0;
		}
	}

	return -ETIMEDOUT;
}

static int lsm6dso_init(void)
{
	uint8_t who_am_i = 0;
	int rc;

	rc = lsm6dso_reg_read(LSM6DSO_REG_WHO_AM_I, &who_am_i);
	if (rc != 0) {
		LOG_ERR("WHO_AM_I read failed: %d", rc);
		return rc;
	}
	if (who_am_i != LSM6DSO_WHO_AM_I_VAL) {
		LOG_ERR("Unexpected WHO_AM_I 0x%02x (want 0x%02x)",
			who_am_i, LSM6DSO_WHO_AM_I_VAL);
		return -ENODEV;
	}

	rc = lsm6dso_reg_write(LSM6DSO_REG_CTRL3_C, LSM6DSO_CTRL3_BDU);
	if (rc != 0) {
		LOG_ERR("CTRL3_C write failed: %d", rc);
		return rc;
	}

	rc = lsm6dso_reg_write(LSM6DSO_REG_CTRL8_XL, LSM6DSO_CTRL8_HP);
	if (rc != 0) {
		LOG_ERR("CTRL8_XL write failed: %d", rc);
		return rc;
	}

	rc = lsm6dso_reg_write(LSM6DSO_REG_CTRL2_G, 0x00);
	if (rc != 0) {
		LOG_ERR("CTRL2_G write failed: %d", rc);
		return rc;
	}

	rc = lsm6dso_reg_write(LSM6DSO_REG_CTRL1_XL, 0x00);
	if (rc != 0) {
		LOG_ERR("CTRL1_XL write failed: %d", rc);
		return rc;
	}

	LOG_INF("LSM6DSO ready (WHO_AM_I=0x%02x, HP+416Hz)", who_am_i);
	return 0;
}

static uint32_t isqrt64(uint64_t n)
{
	if (n == 0) {
		return 0;
	}
	uint64_t x = n;
	uint64_t y = (x + 1) >> 1;

	while (y < x) {
		x = y;
		y = (x + n / x) >> 1;
	}
	return (uint32_t)x;
}

static void vib_accum_reset(struct vib_accum *a)
{
	a->sum_x = 0;
	a->sum_y = 0;
	a->sum_z = 0;
	a->sum_sq_x = 0;
	a->sum_sq_y = 0;
	a->sum_sq_z = 0;
	a->count = 0;
}

static void vib_accum_add(struct vib_accum *a, int16_t x, int16_t y, int16_t z)
{
	a->sum_x    += x;
	a->sum_y    += y;
	a->sum_z    += z;
	a->sum_sq_x += (int64_t)x * x;
	a->sum_sq_y += (int64_t)y * y;
	a->sum_sq_z += (int64_t)z * z;
	a->count++;
}

/*
 * Combined RSS RMS across all axes in milli-g.
 * Uses population variance (mean removed) — appropriate for sustained AC vibration.
 */
static int32_t combined_rms_mg(const struct vib_accum *a)
{
	int64_t n = a->count;
	int64_t nx = n * a->sum_sq_x - a->sum_x * a->sum_x;
	int64_t ny = n * a->sum_sq_y - a->sum_y * a->sum_y;
	int64_t nz = n * a->sum_sq_z - a->sum_z * a->sum_z;

	if (n <= 0) {
		return 0;
	}
	if (nx < 0) {
		nx = 0;
	}
	if (ny < 0) {
		ny = 0;
	}
	if (nz < 0) {
		nz = 0;
	}

	int64_t numer = nx + ny + nz;

	if (numer <= 0) {
		return 0;
	}

	return (int32_t)(((uint64_t)isqrt64((uint64_t)numer) * IMU_SENS_UG_PER_LSB +
			   (uint64_t)n * 500ULL) / ((uint64_t)n * 1000ULL));
}

static void block_finalize(const struct vib_accum *block, int32_t *max_block_rms_mg)
{
	int32_t block_rms = combined_rms_mg(block);

	if (block_rms > *max_block_rms_mg) {
		*max_block_rms_mg = block_rms;
	}
}

int imu_init(void)
{
	imu_i2c_dev = DEVICE_DT_GET(DT_NODELABEL(i2c30));
	if (!device_is_ready(imu_i2c_dev)) {
		LOG_WRN("I2C bus not ready");
		return -ENODEV;
	}

	int rc = lsm6dso_init();

	if (rc == 0) {
		imu_ready = true;
	}
	return rc;
}

int imu_sample_vibration(int32_t *rms_mg_out, int32_t *peak_mg_out)
{
	if (!imu_ready) {
		return -ENODEV;
	}

	struct vib_accum total;
	struct vib_accum block;
	int32_t max_block_rms_mg = 0;
	int rc;

	vib_accum_reset(&total);
	vib_accum_reset(&block);

	rc = lsm6dso_reg_write(LSM6DSO_REG_CTRL1_XL, LSM6DSO_CTRL1_416HZ_2G);
	if (rc != 0) {
		LOG_ERR("Accel enable failed: %d", rc);
		return rc;
	}

	k_sleep(K_MSEC(50));

	for (int i = 0; i < IMU_NUM_SAMPLES; i++) {
		uint8_t raw[6];

		if (wait_xlda() != 0) {
			continue;
		}

		if (lsm6dso_burst_read(LSM6DSO_REG_OUTX_L_XL,
				       raw, sizeof(raw)) != 0) {
			continue;
		}

		int16_t x = (int16_t)((uint16_t)raw[1] << 8 | raw[0]);
		int16_t y = (int16_t)((uint16_t)raw[3] << 8 | raw[2]);
		int16_t z = (int16_t)((uint16_t)raw[5] << 8 | raw[4]);

		vib_accum_add(&total, x, y, z);
		vib_accum_add(&block, x, y, z);

		if (block.count >= IMU_BLOCK_SAMPLES) {
			block_finalize(&block, &max_block_rms_mg);
			vib_accum_reset(&block);
		}
	}

	lsm6dso_reg_write(LSM6DSO_REG_CTRL1_XL, 0x00);

	if (total.count == 0) {
		LOG_WRN("No IMU samples collected");
		return -EIO;
	}

	if (block.count > 0) {
		block_finalize(&block, &max_block_rms_mg);
	}

	*rms_mg_out = combined_rms_mg(&total);
	*peak_mg_out = max_block_rms_mg;

	return 0;
}
```

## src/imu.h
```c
/*
 * imu.h — LSM6DSO IMU (vibration detection) public interface.
 */
#ifndef IMU_H_
#define IMU_H_

#include <stdint.h>

/* Sampling configuration — exposed for sleep-time calculation in main */
#define IMU_ODR_HZ             416
#define IMU_SAMPLE_DURATION_MS 10000
#define IMU_NUM_SAMPLES        ((IMU_ODR_HZ * IMU_SAMPLE_DURATION_MS) / 1000)

/**
 * Initialise the LSM6DSO on the shared I²C bus (i2c30).
 * Returns 0 on success, negative errno on failure.
 */
int imu_init(void);

/**
 * Sample the accelerometer for ~10 s and return two vibration metrics.
 *
 * Both metrics are RMS-based and suited to long-running motor vibration.
 * Brief impulses (knocks, glitches) are averaged out rather than reported
 * as large peaks.
 *
 *   rms_mg_out  — Combined RSS RMS over the full capture window (mg).
 *   peak_mg_out — Highest 1 s sub-window combined RMS in the capture (mg).
 *
 * Returns 0 on success, -ENODEV if not initialised, other negative on error.
 */
int imu_sample_vibration(int32_t *rms_mg_out, int32_t *peak_mg_out);

#endif /* IMU_H_ */
```

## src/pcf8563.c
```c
/*
 * pcf8563.c — PCF8563 RTC wrapper.
 *
 * Provides Unix-second read/write over Zephyr's RTC API.
 * The PCF8563 sits on the XIAO Expansion Board (I2C address 0x51) with
 * a CR1220 battery backup, keeping accurate time across power cycles.
 */

#include "pcf8563.h"

#include <zephyr/kernel.h>
#include <zephyr/device.h>
#include <zephyr/devicetree.h>
#include <zephyr/drivers/rtc.h>
#include <zephyr/sys/timeutil.h>
#include <zephyr/logging/log.h>
#include <time.h>
#include <stdbool.h>
#include <stdint.h>

LOG_MODULE_REGISTER(app_rtc, CONFIG_LOG_DEFAULT_LEVEL);

#define PCF8563_NODE DT_NODELABEL(pcf8563)

static const struct device *rtc_dev;

/* ------------------------------------------------------------------ */
/* Internal helpers                                                     */
/* ------------------------------------------------------------------ */

/*
 * Decompose a Unix timestamp into struct rtc_time (UTC).
 * Uses the same Gregorian algorithm as format_timestamp() in main.c.
 */
static void unix_to_rtc_time(int64_t ts, struct rtc_time *rt)
{
	static const uint8_t mdays[12] = {31, 28, 31, 30, 31, 30,
					  31, 31, 30, 31, 30, 31};

	int64_t days = ts / 86400;
	int64_t rem  = ts % 86400;

	rt->tm_hour  = (int)(rem / 3600);
	rt->tm_min   = (int)((rem % 3600) / 60);
	rt->tm_sec   = (int)(rem % 60);
	rt->tm_nsec  = 0;
	/* 1970-01-01 was a Thursday (4); 0 = Sunday in tm_wday */
	rt->tm_wday  = (int)((days + 4) % 7);
	rt->tm_isdst = -1;

	int year = 1970;

	while (1) {
		bool leap = ((year % 4 == 0) && (year % 100 != 0)) ||
			    (year % 400 == 0);
		int diy = leap ? 366 : 365;

		if (days < diy) {
			break;
		}
		days -= diy;
		year++;
	}

	bool leap = ((year % 4 == 0) && (year % 100 != 0)) ||
		    (year % 400 == 0);
	int yday  = 0;
	int month = 1;

	for (int m = 0; m < 12; m++) {
		int md = mdays[m] + (m == 1 && leap ? 1 : 0);

		if (days < md) {
			month = m + 1;
			break;
		}
		yday += md;
		days -= md;
	}

	rt->tm_year = year - 1900;
	rt->tm_mon  = month - 1;
	rt->tm_mday = (int)days + 1;
	rt->tm_yday = yday + (int)days;
}

/* ------------------------------------------------------------------ */
/* Public API                                                           */
/* ------------------------------------------------------------------ */

int pcf8563_init(void)
{
	rtc_dev = DEVICE_DT_GET(PCF8563_NODE);
	if (!device_is_ready(rtc_dev)) {
		LOG_WRN("PCF8563 not ready — check I2C wiring");
		rtc_dev = NULL;
		return -ENODEV;
	}
	return 0;
}

int64_t pcf8563_read_unix(void)
{
	if (rtc_dev == NULL) {
		return 0;
	}

	struct rtc_time rt;
	int rc = rtc_get_time(rtc_dev, &rt);

	if (rc != 0) {
		LOG_WRN("rtc_get_time failed: %d", rc);
		return 0;
	}

	struct tm t = {
		.tm_year = rt.tm_year,
		.tm_mon  = rt.tm_mon,
		.tm_mday = rt.tm_mday,
		.tm_hour = rt.tm_hour,
		.tm_min  = rt.tm_min,
		.tm_sec  = rt.tm_sec,
	};
	int64_t ts = timeutil_timegm64(&t);

	return (ts > 0) ? ts : 0;
}

int pcf8563_write_unix(int64_t ts)
{
	if (rtc_dev == NULL) {
		return -ENODEV;
	}

	struct rtc_time rt;

	unix_to_rtc_time(ts, &rt);
	int rc = rtc_set_time(rtc_dev, &rt);

	if (rc != 0) {
		LOG_WRN("rtc_set_time failed: %d", rc);
	}
	return rc;
}
```

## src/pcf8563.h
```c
/*
 * pcf8563.h — PCF8563 RTC public interface.
 */
#ifndef PCF8563_H_
#define PCF8563_H_

#include <stdint.h>

/**
 * Initialise the PCF8563 (DTS node: pcf8563@51 on xiao_i2c).
 * Returns 0 on success, -ENODEV if the device is not ready.
 */
int pcf8563_init(void);

/**
 * Read the current time from the PCF8563.
 * Returns Unix seconds (UTC), or 0 if the oscillator has not been set
 * or the device is not initialised.
 */
int64_t pcf8563_read_unix(void);

/**
 * Write a Unix timestamp (UTC) to the PCF8563.
 * Returns 0 on success, -ENODEV if not initialised, other negative on error.
 * Safe to call even if pcf8563_init() failed (returns -ENODEV silently).
 */
int pcf8563_write_unix(int64_t ts);

#endif /* PCF8563_H_ */
```
